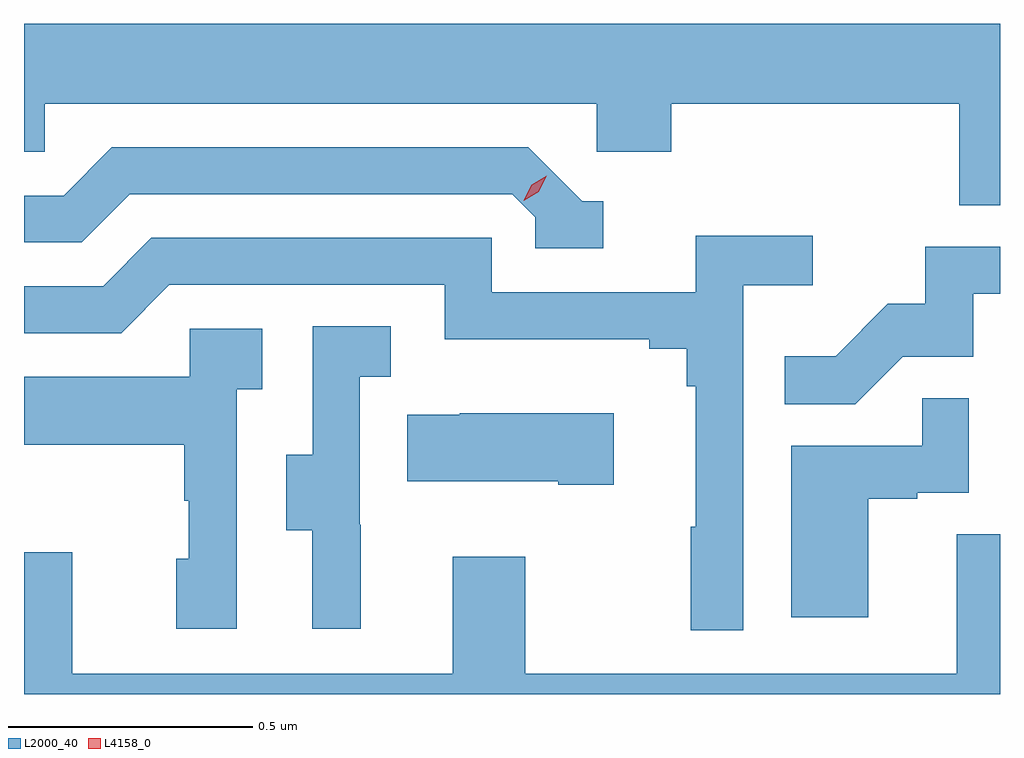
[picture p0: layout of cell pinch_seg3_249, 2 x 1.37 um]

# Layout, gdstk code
import gdstk
lib = gdstk.Library(unit=1e-6, precision=1e-09)
def P(c, l, *ps):  # polygons
    for p in ps: c.add(gdstk.Polygon(p, *l))
L2000_40 = (2000, 40)
L4158_0 = (4158, 0)

pinch_seg3_249 = lib.new_cell('pinch_seg3_249')
P(pinch_seg3_249, L2000_40, [(918.13,743.704),(916.13,743.704),(916.13,743.442),(916.173,743.442),(916.173,743.54),(917.304,743.54),(917.304,743.442),(917.456,743.442),(917.456,743.54),(918.047,743.54),(918.047,743.332),(918.13,743.332)],
  [(917.317,743.34),(917.274,743.34),(917.163,743.451),(916.31,743.451),(916.211,743.352),(916.13,743.352),(916.13,743.256),(916.248,743.256),(916.347,743.355),(917.13,743.355),(917.178,743.307),(917.178,743.244),(917.317,743.244)],
  [(917.604,743.168),(917.746,743.168),(917.746,743.27),(917.507,743.27),(917.507,743.154),(917.088,743.154),(917.088,743.265),(916.391,743.265),(916.292,743.166),(916.13,743.166),(916.13,743.07),(916.329,743.07),(916.428,743.169),(916.992,743.169),(916.992,743.057),(917.411,743.057),(917.411,743.038),(917.488,743.038),(917.488,742.961),(917.507,742.961),(917.507,742.673),(917.496,742.673),(917.496,742.461),(917.604,742.461)],
  [(917.931,743.022),(918.075,743.022),(918.075,743.151),(918.13,743.151),(918.13,743.247),(917.977,743.247),(917.977,743.13),(917.9,743.13),(917.793,743.023),(917.689,743.023),(917.689,742.924),(917.833,742.924)],
  [(916.82,742.677),(916.818,742.677),(916.818,742.981),(916.882,742.981),(916.882,743.084),(916.722,743.084),(916.722,742.821),(916.667,742.821),(916.667,742.666),(916.721,742.666),(916.721,742.464),(916.82,742.464)],
  [(916.566,742.955),(916.618,742.955),(916.618,743.079),(916.47,743.079),(916.47,742.981),(916.13,742.981),(916.13,742.841),(916.458,742.841),(916.458,742.727),(916.468,742.727),(916.468,742.608),(916.442,742.608),(916.442,742.464),(916.566,742.464)],
  [(917.86,742.731),(917.96,742.731),(917.96,742.743),(918.066,742.743),(918.066,742.937),(917.971,742.937),(917.971,742.839),(917.702,742.839),(917.702,742.488),(917.86,742.488)],
  [(917.338,742.906),(917.023,742.906),(917.023,742.903),(916.915,742.903),(916.915,742.766),(917.225,742.766),(917.225,742.759),(917.338,742.759)],
  [(918.13,742.658),(918.041,742.658),(918.041,742.372),(917.157,742.372),(917.157,742.612),(917.009,742.612),(917.009,742.372),(916.229,742.372),(916.229,742.621),(916.131,742.621),(916.131,742.372),(916.13,742.372),(916.13,742.33),(918.13,742.33)])
P(pinch_seg3_249, L4158_0, [(917.154,743.341),(917.154,743.342),(917.17,743.374),(917.201,743.393),(917.201,743.393),(917.201,743.393),(917.185,743.36),(917.154,743.341)])

lib.write_gds('pinch_seg3_249.gds')
